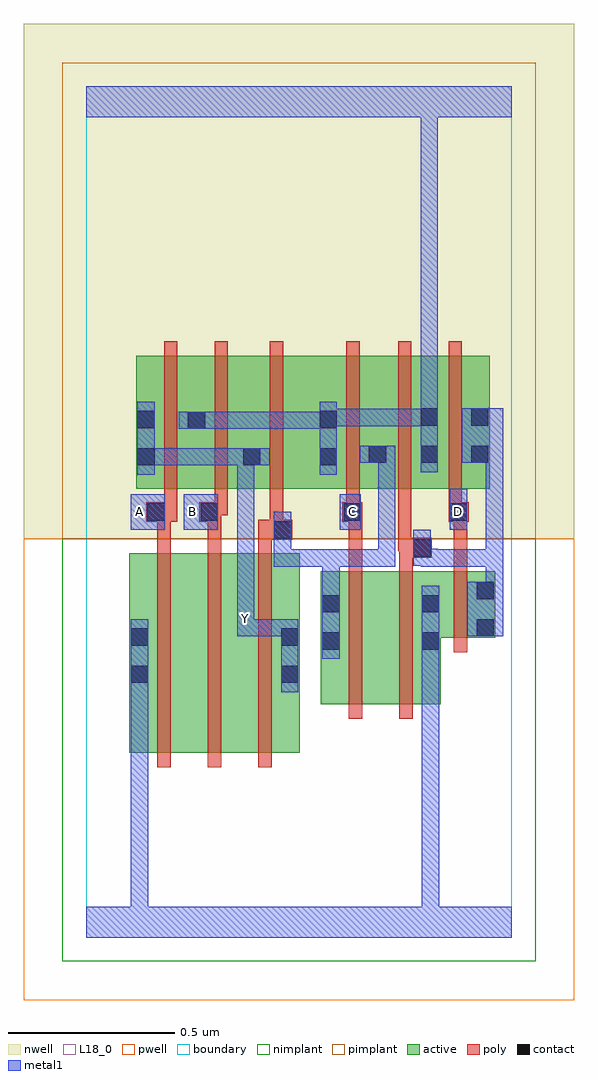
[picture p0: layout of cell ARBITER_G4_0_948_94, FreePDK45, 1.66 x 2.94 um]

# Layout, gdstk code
import gdstk
lib = gdstk.Library(unit=1e-6, precision=1e-09)
def R(c, l, rs):  # rectangles x0, y0, x1, y1
    for r in rs: c.add(gdstk.rectangle(r[:2], r[2:], *l))
def A(c, l, x, y, w, h, nx, ny, dx, dy):  # array of equal rectangles
    R(c, l, [(x+i*dx, y+j*dy, x+i*dx+w, y+j*dy+h) for i in range(nx) for j in range(ny)])
active = (1, 0)
pwell = (2, 0)
nwell = (3, 0)
nimplant = (4, 0)
pimplant = (5, 0)
poly = (9, 0)
contact = (10, 0)
metal1 = (11, 0)
L18_0 = (18, 0)
boundary = (235, 0)

arbiter_g4_0_948_94 = lib.new_cell('ARBITER_G4_0_948_94')
R(arbiter_g4_0_948_94, active, [(0.13,0.556,0.19,1.156), (0.13,0.556,0.31,1.156), (0.31,0.556,0.462,1.156), (0.462,0.556,0.642,1.156), (0.582,0.556,0.642,1.156), (0.706,0.702,0.886,1.102), (0.886,0.702,1.066,1.102), (0.706,0.756,0.766,1.102), (1.006,0.834,1.066,1.07), (1.006,0.902,1.23,1.102), (1.17,0.902,1.23,1.102), (0.15,1.35,0.362,1.75), (0.15,1.35,0.21,1.75), (0.302,1.35,0.528,1.75), (0.468,1.35,0.758,1.75), (0.698,1.35,0.758,1.75), (0.698,1.35,0.906,1.75), (0.846,1.35,0.906,1.644), (0.846,1.35,1.062,1.75), (1.002,1.35,1.214,1.75), (1.002,1.35,1.062,1.75), (1.154,1.35,1.214,1.644), (0.302,1.416,0.362,1.66), (0.468,1.416,0.528,1.644)])
R(arbiter_g4_0_948_94, pwell, [(-0.188,-0.188,1.468,1.2)])
R(arbiter_g4_0_948_94, nwell, [(-0.188,1.2,1.468,2.748)])
R(arbiter_g4_0_948_94, nimplant, [(-0.072,-0.072,1.352,1.2)])
R(arbiter_g4_0_948_94, pimplant, [(-0.072,1.2,1.352,2.632)])
A(arbiter_g4_0_948_94, poly, 0.214, 0.512, 0.04, 0.688, 3, 1, 0.152, 0)
R(arbiter_g4_0_948_94, poly, [(0.79,0.658,0.83,1.146), (0.942,0.658,0.982,1.146), (1.106,0.858,1.146,1.146), (0.79,1.106,0.83,1.29), (0.942,1.106,0.982,1.182), (1.106,1.106,1.146,1.29), (0.942,1.142,1.04,1.202), (0.214,1.16,0.254,1.29), (0.366,1.16,0.406,1.29), (0.518,1.16,0.558,1.236), (0.938,1.162,0.978,1.346), (0.938,1.162,0.982,1.202), (0.942,1.162,0.982,1.202), (0.518,1.196,0.62,1.256), (0.552,1.216,0.592,1.256), (0.552,1.216,0.592,1.256), (0.552,1.216,0.592,1.346), (0.18,1.25,0.274,1.31), (0.214,1.25,0.254,1.29), (0.214,1.25,0.254,1.29), (0.34,1.25,0.406,1.31), (0.77,1.25,0.83,1.31), (0.79,1.25,0.83,1.29), (0.79,1.25,0.83,1.29), (1.09,1.25,1.15,1.31), (1.106,1.25,1.146,1.29), (1.106,1.25,1.146,1.29), (0.234,1.27,0.274,1.346), (0.366,1.27,0.406,1.31), (0.366,1.27,0.426,1.31), (0.386,1.27,0.426,1.346), (0.782,1.27,0.822,1.346), (1.09,1.27,1.13,1.346), (0.234,1.306,0.274,1.794), (0.386,1.306,0.426,1.794), (0.552,1.306,0.592,1.794), (0.782,1.306,0.822,1.794), (0.938,1.306,0.978,1.794), (1.09,1.306,1.13,1.794)])
R(arbiter_g4_0_948_94, contact, [(0.134,0.766,0.186,0.818), (0.586,0.766,0.638,0.818), (0.71,0.866,0.762,0.918), (1.01,0.866,1.062,0.918), (0.134,0.878,0.186,0.93), (0.586,0.878,0.638,0.93), (1.174,0.906,1.226,0.958), (0.71,0.978,0.762,1.03), (1.01,0.978,1.062,1.03), (1.174,1.018,1.226,1.07), (0.984,1.146,1.036,1.198), (0.564,1.2,0.616,1.252), (0.184,1.254,0.236,1.306), (0.344,1.254,0.396,1.306), (0.774,1.254,0.826,1.306), (1.094,1.254,1.146,1.306), (0.154,1.42,0.206,1.472), (0.472,1.42,0.524,1.472), (0.702,1.42,0.754,1.472), (0.85,1.428,0.902,1.48), (1.006,1.428,1.058,1.48), (1.158,1.428,1.21,1.48), (0.306,1.53,0.358,1.582), (0.154,1.532,0.206,1.584), (0.702,1.532,0.754,1.584), (1.006,1.54,1.058,1.592), (1.158,1.54,1.21,1.592)])
R(arbiter_g4_0_948_94, metal1, [(0,0,1.28,0.092), (0.134,0.04,0.186,0.79), (1.01,0.04,1.062,0.89), (0.134,0.738,0.186,0.79), (0.134,0.738,0.186,0.79), (0.134,0.738,0.186,0.79), (0.134,0.738,0.186,0.79), (0.134,0.738,0.186,0.79), (0.134,0.738,0.186,0.79), (0.134,0.738,0.186,0.79), (0.134,0.738,0.186,0.79), (0.134,0.738,0.186,0.958), (0.586,0.738,0.638,0.958), (0.71,0.838,0.762,1.058), (1.01,0.838,1.062,0.89), (1.01,0.838,1.062,0.89), (1.01,0.838,1.062,0.89), (1.01,0.838,1.062,0.89), (1.01,0.838,1.062,0.89), (1.01,0.838,1.062,0.89), (1.01,0.838,1.062,0.89), (1.01,0.838,1.062,0.89), (1.01,0.838,1.062,0.89), (1.01,0.838,1.062,0.89), (1.01,0.838,1.062,0.89), (1.01,0.838,1.062,0.89), (1.01,0.838,1.062,1.058), (0.454,0.906,0.506,0.958), (0.454,0.906,0.506,0.958), (0.454,0.906,0.506,1.014), (0.454,0.906,0.638,0.958), (0.586,0.906,0.638,0.958), (0.586,0.906,0.638,0.958), (1.146,0.906,1.254,1.07), (0.454,0.962,0.506,1.014), (0.454,0.962,0.506,1.014), (0.454,0.962,0.506,1.472), (0.71,1.006,0.762,1.168), (1.202,1.018,1.254,1.168), (0.564,1.116,0.616,1.224), (0.564,1.116,0.762,1.168), (0.71,1.116,0.762,1.168), (0.71,1.116,0.762,1.168), (0.71,1.116,0.762,1.168), (0.71,1.116,0.93,1.168), (0.878,1.116,0.93,1.48), (0.878,1.116,0.93,1.168), (1.006,1.116,1.254,1.168), (1.006,1.116,1.058,1.17), (1.202,1.116,1.254,1.48), (1.202,1.116,1.254,1.168), (1.202,1.116,1.254,1.168), (1.202,1.116,1.254,1.168), (1.202,1.116,1.254,1.168), (1.202,1.116,1.254,1.168), (0.984,1.118,1.058,1.17), (0.984,1.118,1.036,1.226), (0.564,1.172,0.616,1.224), (0.564,1.172,0.616,1.28), (0.134,1.226,0.236,1.334), (0.294,1.226,0.396,1.334), (0.762,1.226,0.826,1.334), (1.094,1.226,1.146,1.35), (0.154,1.392,0.206,1.612), (0.702,1.392,0.754,1.612), (1.006,1.4,1.058,1.62), (0.154,1.42,0.206,1.472), (0.154,1.42,0.206,1.472), (0.154,1.42,0.386,1.472), (0.334,1.42,0.386,1.472), (0.334,1.42,0.386,1.472), (0.334,1.42,0.386,1.472), (0.334,1.42,0.496,1.472), (0.444,1.42,0.552,1.472), (0.822,1.428,0.93,1.48), (0.878,1.428,0.93,1.48), (0.878,1.428,0.93,1.48), (1.13,1.428,1.254,1.592), (0.278,1.53,0.386,1.582), (0.334,1.53,0.506,1.582), (0.454,1.53,0.506,1.582), (0.454,1.53,0.506,1.582), (0.454,1.53,0.506,1.582), (0.454,1.53,0.644,1.582), (0.592,1.53,0.644,1.582), (0.592,1.53,0.644,1.582), (0.592,1.53,0.644,1.582), (0.592,1.53,0.754,1.582), (0.702,1.538,0.754,1.59), (0.702,1.538,0.754,1.59), (0.702,1.538,0.948,1.59), (0.896,1.538,0.948,1.59), (0.896,1.538,0.948,1.59), (0.896,1.538,0.948,1.59), (0.896,1.538,1.058,1.59), (1.006,1.568,1.058,1.62), (1.006,1.568,1.058,1.62), (1.006,1.568,1.058,1.62), (1.006,1.568,1.058,1.62), (1.006,1.568,1.058,1.62), (1.006,1.568,1.058,1.62), (1.006,1.568,1.058,1.62), (1.006,1.568,1.058,1.62), (1.006,1.568,1.058,1.62), (1.006,1.568,1.058,1.62), (1.006,1.568,1.058,1.62), (1.006,1.568,1.058,1.62), (1.006,1.568,1.058,1.62), (1.006,1.568,1.058,1.62), (1.006,1.568,1.058,1.62), (1.006,1.568,1.058,1.62), (1.006,1.568,1.058,2.52), (0,2.468,1.28,2.56)])
A(arbiter_g4_0_948_94, L18_0, 0.454, 0.906, 0.052, 0.052, 1, 3, 0, 0.028)
R(arbiter_g4_0_948_94, L18_0, [(0,0,1.28,0.092), (0.134,0.04,0.186,0.79), (1.01,0.04,1.062,0.89), (0.134,0.738,0.186,0.79), (0.134,0.738,0.186,0.79), (0.134,0.738,0.186,0.79), (0.134,0.738,0.186,0.79), (0.134,0.738,0.186,0.79), (0.134,0.738,0.186,0.79), (0.134,0.738,0.186,0.79), (0.134,0.738,0.186,0.79), (0.134,0.738,0.186,0.958), (0.586,0.738,0.638,0.958), (1.01,0.838,1.062,0.89), (1.01,0.838,1.062,0.89), (1.01,0.838,1.062,0.89), (1.01,0.838,1.062,0.89), (1.01,0.838,1.062,0.89), (1.01,0.838,1.062,0.89), (1.01,0.838,1.062,0.89), (1.01,0.838,1.062,0.89), (1.01,0.838,1.062,0.89), (1.01,0.838,1.062,0.89), (1.01,0.838,1.062,0.89), (1.01,0.838,1.062,0.89), (1.01,0.838,1.062,1.058), (0.454,0.906,0.506,0.958), (0.454,0.906,0.506,1.014), (0.454,0.906,0.638,0.958), (0.586,0.906,0.638,0.958), (0.586,0.906,0.638,0.958), (0.454,0.962,0.506,1.014), (0.454,0.962,0.506,1.472), (0.134,1.226,0.236,1.334), (0.294,1.226,0.396,1.334), (0.762,1.226,0.826,1.334), (1.094,1.226,1.146,1.35), (0.134,1.254,0.186,1.306), (0.294,1.254,0.346,1.306), (0.774,1.254,0.826,1.306), (1.094,1.254,1.146,1.306), (0.154,1.392,0.206,1.612), (0.702,1.392,0.754,1.612), (1.006,1.4,1.058,1.62), (0.154,1.42,0.206,1.472), (0.154,1.42,0.206,1.472), (0.154,1.42,0.386,1.472), (0.334,1.42,0.386,1.472), (0.334,1.42,0.386,1.472), (0.334,1.42,0.386,1.472), (0.334,1.42,0.496,1.472), (0.444,1.42,0.552,1.472), (0.278,1.53,0.386,1.582), (0.334,1.53,0.506,1.582), (0.454,1.53,0.506,1.582), (0.454,1.53,0.506,1.582), (0.454,1.53,0.506,1.582), (0.454,1.53,0.644,1.582), (0.592,1.53,0.644,1.582), (0.592,1.53,0.644,1.582), (0.592,1.53,0.644,1.582), (0.592,1.53,0.754,1.582), (0.702,1.538,0.754,1.59), (0.702,1.538,0.754,1.59), (0.702,1.538,0.948,1.59), (0.896,1.538,0.948,1.59), (0.896,1.538,0.948,1.59), (0.896,1.538,0.948,1.59), (0.896,1.538,1.058,1.59), (1.006,1.568,1.058,1.62), (1.006,1.568,1.058,1.62), (1.006,1.568,1.058,1.62), (1.006,1.568,1.058,1.62), (1.006,1.568,1.058,1.62), (1.006,1.568,1.058,1.62), (1.006,1.568,1.058,1.62), (1.006,1.568,1.058,1.62), (1.006,1.568,1.058,1.62), (1.006,1.568,1.058,1.62), (1.006,1.568,1.058,1.62), (1.006,1.568,1.058,1.62), (1.006,1.568,1.058,1.62), (1.006,1.568,1.058,1.62), (1.006,1.568,1.058,1.62), (1.006,1.568,1.058,1.62), (1.006,1.568,1.058,2.52), (0,2.468,1.28,2.56)])
R(arbiter_g4_0_948_94, boundary, [(0,0,1.28,2.56)])
arbiter_g4_0_948_94.add(gdstk.Label('A', (0.16,1.28), layer=11, texttype=0))
arbiter_g4_0_948_94.add(gdstk.Label('B', (0.32,1.28), layer=11, texttype=0))
arbiter_g4_0_948_94.add(gdstk.Label('C', (0.8,1.28), layer=11, texttype=0))
arbiter_g4_0_948_94.add(gdstk.Label('D', (1.12,1.28), layer=11, texttype=0))
arbiter_g4_0_948_94.add(gdstk.Label('Y', (0.48,0.96), layer=11, texttype=0))

lib.write_gds('ARBITER_G4_0_948_94.gds')
